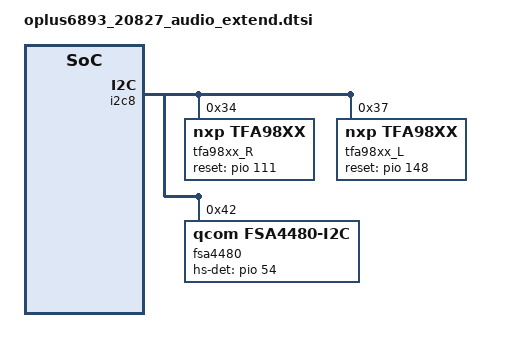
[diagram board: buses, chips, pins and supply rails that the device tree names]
&audio_extend {
	//for nxp speaker
	oplus,speaker-vendor = "nxp";
	oplus,speaker-i2s-id = <3>;
	oplus,speaker-i2s-id-in = <0>;
	oplus,speaker-codec-name = "tfa98xx.8-0034","tfa98xx.8-0037";
	oplus,speaker-codec-dai-name = "tfa98xx-aif-8-34","tfa98xx-aif-8-37";
};

//#ifdef OPLUS_ARCH_EXTENDS
&i2c8 {
	tfa98xx_R: tfa98xx@34 {
		compatible = "nxp,tfa98xx";
		reg = <0x34>;
		reset-gpio = <&pio 111 0>;
		tfa_min_range = <5000>;
		tfa_max_range = <8000>;
		tfa_channel = <1>;
		status = "okay";
	};

	tfa98xx_L: tfa98xx@37 {
		compatible = "nxp,tfa98xx";
		reg = <0x37>;
		reset-gpio = <&pio 148 0>;
		tfa_min_range = <5000>;
		tfa_max_range = <8000>;
		tfa_channel = <0>;
		status = "okay";
	};
};

&sound {
	mtk_spk_i2s_in = <9>;
};
//#endif /*OPLUS_ARCH_EXTENDS*/

//#ifdef OPLUS_ARCH_EXTENDS
///delete-node/ &fsa4480;

&i2c8 {
	fsa4480: fsa4480@42 {
		compatible = "qcom,fsa4480-i2c";
		reg = <0x42>;
		pinctrl-names = "default";
		pinctrl-0 = <&fsa_hs_det>;
		fsa4480,hs-det-gpio = <&pio 54 0>;
		fsa4480,hs-det-level = <0>;
	};
};

&pio {
	fsa_hs_det: fsa_hs_det {
		pins_cmd_dat {
			pinmux = <PINMUX_GPIO54__FUNC_GPIO54>;
			slew-rate = <1>;  /*direction 0:in, 1:out*/
			output-high;
		};
	};
};
//#endif /*OPLUS_ARCH_EXTENDS*/
